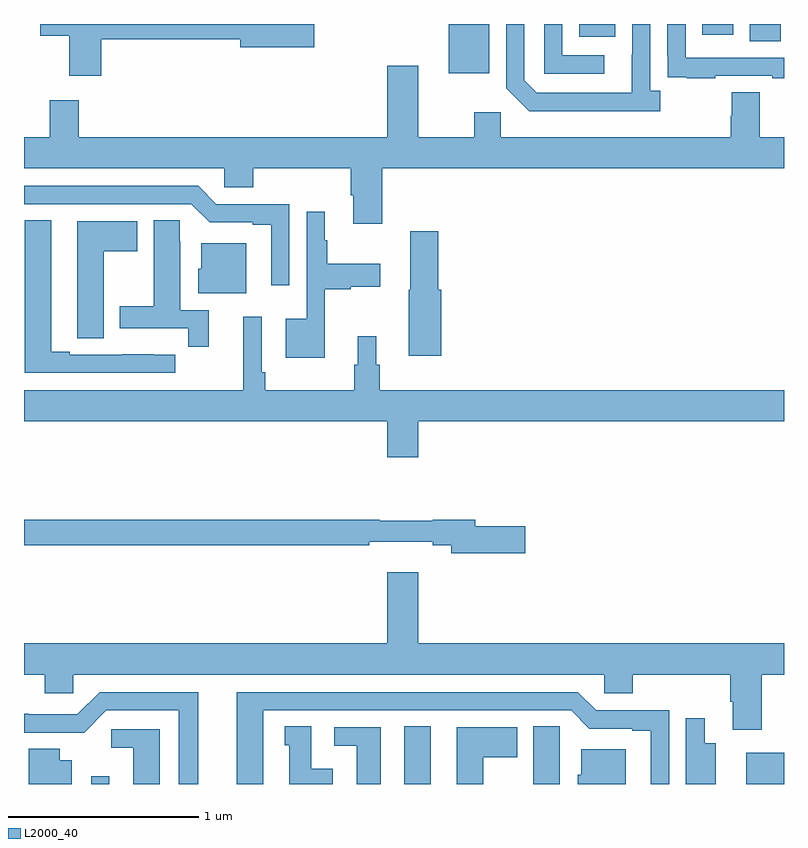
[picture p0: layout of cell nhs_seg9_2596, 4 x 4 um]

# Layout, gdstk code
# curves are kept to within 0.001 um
import gdstk
lib = gdstk.Library(unit=1e-6, precision=1e-09)
def R(c, l, rs):  # rectangles x0, y0, x1, y1
    for r in rs: c.add(gdstk.rectangle(r[:2], r[2:], *l))
def P(c, l, *ps):  # polygons
    for p in ps: c.add(gdstk.Polygon(p, *l))
L2000_40 = (2000, 40)

nhs_seg9_2596 = lib.new_cell('nhs_seg9_2596')
R(nhs_seg9_2596, L2000_40, [(259.353,1206.5,259.449,1206.541), (261.002,1206.5,261.142,1206.803), (262.802,1206.5,263,1206.664), (262.82,1210.408,262.984,1210.5), (261.923,1210.433,262.111,1210.5), (262.571,1210.443,262.732,1210.5)])
P(nhs_seg9_2596, L2000_40, [(262.054,1210.335),(261.834,1210.335),(261.834,1210.5),(261.738,1210.5),(261.738,1210.239),(262.054,1210.239)],
  [(262.348,1210.15),(262.296,1210.15),(262.296,1210.5),(262.2,1210.5),(262.199,1210.137),(261.699,1210.137),(261.633,1210.203),(261.633,1210.5),(261.537,1210.5),(261.537,1210.161),(261.658,1210.04),(262.348,1210.04)],
  [(259.406,1210.42),(260.138,1210.42),(260.138,1210.378),(260.527,1210.378),(260.527,1210.5),(259.086,1210.5),(259.086,1210.438),(259.238,1210.438),(259.238,1210.227),(259.406,1210.227)],
  [(261.448,1210.498),(261.406,1210.498),(261.406,1210.5),(261.236,1210.5),(261.236,1210.241),(261.448,1210.241)],
  [(262.637,1210.227),(262.937,1210.227),(262.937,1210.215),(263,1210.215),(263,1210.323),(262.482,1210.323),(262.482,1210.5),(262.386,1210.5),(262.386,1210.33),(262.387,1210.33),(262.387,1210.221),(262.489,1210.221),(262.489,1210.215),(262.637,1210.215)],
  [(260.885,1209.74),(263,1209.74),(263,1209.904),(262.873,1209.904),(262.873,1210.142),(262.726,1210.142),(262.726,1210.017),(262.721,1210.017),(262.721,1209.904),(261.51,1209.904),(261.51,1210.036),(261.371,1210.036),(261.371,1209.904),(261.076,1209.904),(261.076,1210.279),(260.912,1210.279),(260.912,1209.904),(259.289,1209.904),(259.289,1210.099),(259.136,1210.099),(259.136,1209.904),(259,1209.904),(259,1209.74),(260.055,1209.74),(260.055,1209.642),(260.207,1209.642),(260.207,1209.74),(260.72,1209.74),(260.72,1209.598),(260.732,1209.598),(260.732,1209.45),(260.885,1209.45)],
  [(260.397,1209.552),(260.013,1209.552),(259.917,1209.648),(259,1209.648),(259,1209.552),(259.881,1209.552),(259.977,1209.456),(260.204,1209.456),(260.204,1209.444),(260.3,1209.444),(260.3,1209.126),(260.397,1209.126)],
  [(260.584,1209.104),(260.721,1209.104),(260.721,1209.116),(260.875,1209.116),(260.875,1209.238),(260.596,1209.238),(260.596,1209.362),(260.584,1209.362),(260.584,1209.511),(260.487,1209.511),(260.487,1208.95),(260.378,1208.95),(260.378,1208.744),(260.584,1208.744)],
  [(259.973,1208.994),(259.822,1208.994),(259.822,1209.356),(259.821,1209.356),(259.821,1209.467),(259.682,1209.467),(259.682,1209.015),(259.505,1209.015),(259.505,1208.898),(259.864,1208.898),(259.864,1208.802),(259.973,1208.802)],
  [(259.795,1208.76),(259.682,1208.76),(259.682,1208.761),(259.516,1208.761),(259.516,1208.76),(259.24,1208.76),(259.24,1208.775),(259.144,1208.775),(259.144,1209.467),(259.004,1209.467),(259.004,1208.664),(259.795,1208.664)],
  [(259.42,1209.304),(259.597,1209.304),(259.597,1209.463),(259.28,1209.463),(259.28,1208.953),(259.281,1208.953),(259.281,1208.845),(259.42,1208.845)],
  [(261.197,1209.102),(261.179,1209.102),(261.179,1209.409),(261.032,1209.409),(261.032,1209.102),(261.026,1209.102),(261.026,1208.754),(261.197,1208.754)],
  [(260.17,1209.346),(259.934,1209.346),(259.934,1209.213),(259.916,1209.213),(259.916,1209.083),(260.17,1209.083)],
  [(261.076,1208.408),(263,1208.408),(263,1208.572),(260.873,1208.572),(260.873,1208.706),(260.854,1208.706),(260.854,1208.857),(260.756,1208.857),(260.756,1208.706),(260.737,1208.706),(260.737,1208.572),(260.27,1208.572),(260.27,1208.668),(260.25,1208.668),(260.25,1208.959),(260.153,1208.959),(260.153,1208.572),(259,1208.572),(259,1208.408),(260.912,1208.408),(260.912,1208.22),(261.076,1208.22)],
  [(261.637,1207.856),(261.376,1207.856),(261.376,1207.892),(261.152,1207.892),(261.152,1207.885),(260.872,1207.885),(260.872,1207.892),(259,1207.892),(259,1207.756),(260.816,1207.756),(260.816,1207.775),(261.152,1207.775),(261.152,1207.756),(261.248,1207.756),(261.248,1207.714),(261.637,1207.714)],
  [(262.883,1207.076),(263,1207.076),(263,1207.24),(261.076,1207.24),(261.076,1207.615),(260.912,1207.615),(260.912,1207.24),(259,1207.24),(259,1207.076),(259.109,1207.076),(259.109,1206.978),(259.26,1206.978),(259.26,1207.076),(262.053,1207.076),(262.053,1206.978),(262.205,1206.978),(262.205,1207.076),(262.718,1207.076),(262.718,1206.934),(262.73,1206.934),(262.73,1206.786),(262.883,1206.786)],
  [(260.26,1206.888),(261.879,1206.888),(261.975,1206.792),(262.202,1206.792),(262.202,1206.78),(262.298,1206.78),(262.298,1206.5),(262.395,1206.5),(262.395,1206.888),(262.011,1206.888),(261.915,1206.984),(260.12,1206.984),(260.12,1206.5),(260.26,1206.5)],
  [(259.918,1206.984),(259.398,1206.984),(259.281,1206.867),(259.025,1206.867),(259.025,1206.869),(259,1206.869),(259,1206.771),(259.316,1206.77),(259.434,1206.888),(259.814,1206.888),(259.814,1206.5),(259.918,1206.5)],
  [(262.642,1206.715),(262.582,1206.715),(262.582,1206.847),(262.484,1206.847),(262.484,1206.611),(262.483,1206.611),(262.483,1206.5),(262.642,1206.5)],
  [(261.82,1206.692),(261.819,1206.692),(261.819,1206.803),(261.68,1206.803),(261.68,1206.5),(261.82,1206.5)],
  [(260.626,1206.58),(260.512,1206.58),(260.512,1206.803),(260.372,1206.803),(260.372,1206.705),(260.396,1206.705),(260.396,1206.5),(260.626,1206.5)],
  [(261.418,1206.64),(261.595,1206.64),(261.595,1206.799),(261.278,1206.799),(261.278,1206.5),(261.418,1206.5)],
  [(260.878,1206.798),(260.634,1206.798),(260.634,1206.702),(260.75,1206.702),(260.75,1206.5),(260.878,1206.5)],
  [(259.714,1206.789),(259.458,1206.789),(259.458,1206.692),(259.574,1206.692),(259.574,1206.5),(259.714,1206.5)],
  [(259.252,1206.625),(259.189,1206.625),(259.189,1206.686),(259.025,1206.686),(259.025,1206.5),(259.252,1206.5)],
  [(262.168,1206.682),(261.932,1206.682),(261.932,1206.549),(261.914,1206.549),(261.914,1206.5),(262.168,1206.5)])

lib.write_gds('nhs_seg9_2596.gds')
